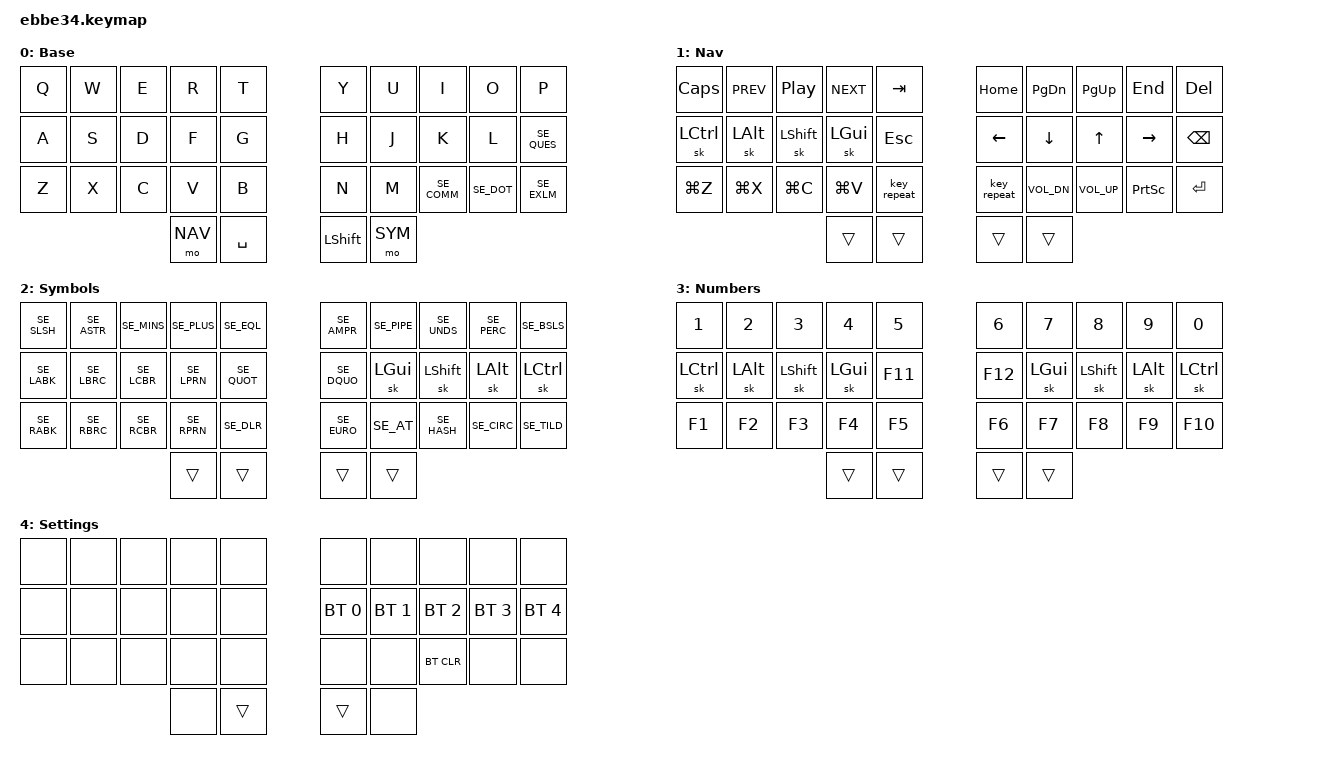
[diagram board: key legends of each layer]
/*
 * Copyright (c) 2023 The ZMK Contributors
 *
 * SPDX-License-Identifier: MIT
 */

#include <behaviors.dtsi>
#include <dt-bindings/zmk/bt.h>
#include <dt-bindings/zmk/keys.h>
#include "keymap_swedish_mac.h"

#define BAS 0
#define NAV 1
#define SYM 2
#define NUM 3
#define SET 4

&sl {
    release-after-ms = <5000>;
};

/ {
    conditional_layers {
        compatible = "zmk,conditional-layers";
        tri_layer {
            if-layers = <NAV SYM>;
            then-layer = <NUM>;
        };
    };

    combos {
        #include "combos.dtsi"
    };

    keymap {
        compatible = "zmk,keymap";

         base {
            display-name = "Base";
            bindings = <
&kp Q       &kp W       &kp E      &kp R      &kp T         &kp Y      &kp U       &kp I          &kp O         &kp P
&kp A       &kp S       &kp D      &kp F      &kp G         &kp H      &kp J       &kp K          &kp L         &kp SE_QUES
&kp Z       &kp X       &kp C      &kp V      &kp B         &kp N      &kp M       &kp SE_COMM    &kp SE_DOT    &kp SE_EXLM
                                   &mo NAV    &kp SPACE     &kp LSHFT  &mo SYM
            >;
        };

        navigation {
            display-name = "Nav";
            bindings = <
&kp CAPS    &kp C_PREV  &kp C_PP   &kp C_NEXT &kp TAB       &kp HOME    &kp PG_DN    &kp PG_UP     &kp END     &kp DEL
&sk LCTRL   &sk LALT    &sk LSHFT  &sk LGUI   &kp ESC       &kp LEFT    &kp DOWN     &kp UP        &kp RIGHT   &kp BSPC
&kp LG(Z)   &kp LG(X)   &kp LG(C)  &kp LG(V)  &key_repeat   &key_repeat &kp C_VOL_DN &kp C_VOL_UP  &kp PSCRN   &kp RET
                                   &trans     &trans        &trans      &trans
            >;
        };

        symbols {
            display-name = "Symbols";
            bindings = <
&kp SE_SLSH &kp SE_ASTR &kp SE_MINS &kp SE_PLUS &kp SE_EQL  &kp SE_AMPR  &kp SE_PIPE &kp SE_UNDS &kp SE_PERC &kp SE_BSLS
&kp SE_LABK &kp SE_LBRC &kp SE_LCBR &kp SE_LPRN &kp SE_QUOT &kp SE_DQUO  &sk LGUI    &sk LSHFT   &sk LALT    &sk LCTRL
&kp SE_RABK &kp SE_RBRC &kp SE_RCBR &kp SE_RPRN &kp SE_DLR  &kp SE_EURO  &kp SE_AT   &kp SE_HASH &kp SE_CIRC &kp SE_TILD
                                    &trans      &trans      &trans       &trans
            >;
        };

        numbers {
            display-name = "Numbers";
            bindings = <
&kp N1      &kp N2       &kp N3    &kp N4       &kp N5       &kp N6      &kp N7      &kp N8      &kp N9      &kp N0
&sk LCTRL   &sk LALT     &sk LSHFT &sk LGUI     &kp F11      &kp F12     &sk LGUI    &sk LSHFT   &sk LALT    &sk LCTRL
&kp F1      &kp F2       &kp F3    &kp F4       &kp F5       &kp F6      &kp F7      &kp F8      &kp F9      &kp F10
                                   &trans       &trans       &trans      &trans
            >;
        };

        settings {
            display-name = "Settings";
            bindings = <
&none &none &none &none &none &none        &none        &none        &none        &none
&none &none &none &none &none &bt BT_SEL 0 &bt BT_SEL 1 &bt BT_SEL 2 &bt BT_SEL 3 &bt BT_SEL 4
&none           &none           &none &none           &none           &none        &none        &bt BT_CLR   &none        &none
                                &none           &trans          &trans          &none
            >;
        };
    };
};
